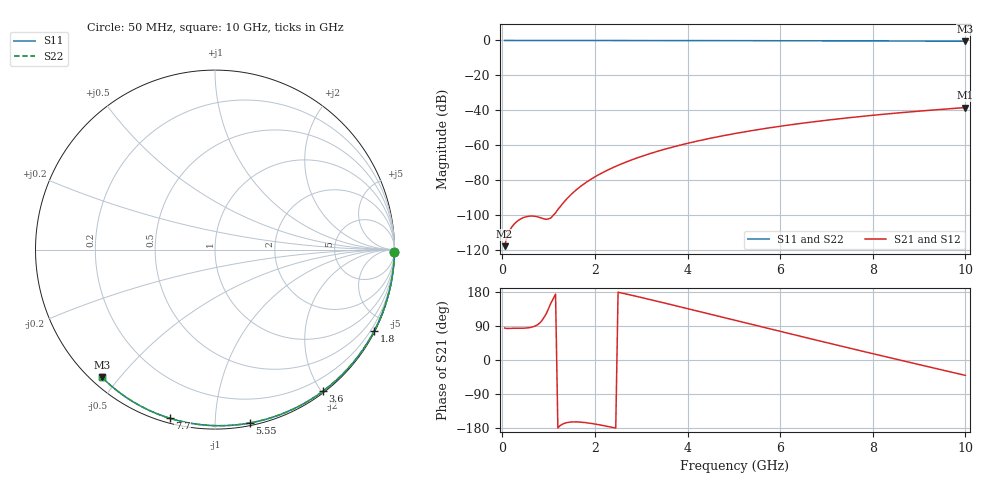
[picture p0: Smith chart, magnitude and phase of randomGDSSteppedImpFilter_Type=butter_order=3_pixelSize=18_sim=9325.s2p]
! freq	dB(S11)	phase(S11)	dB(S12)	phase(S12)
!  dB(S21)	phase(S21)	dB(S22)	phase(S22)
!S-par simulation data
#  GHz  S  DB  R 50
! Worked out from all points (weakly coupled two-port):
!   200 points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, 50 MHz to 10 GHz, reference 50 ohm
!   highest |S21| = -38.40 dB at 10 GHz (marker M1); lowest = -117.7 dB at 50 MHz (marker M2)
!   lowest |S11| = -0.4 dB at 10 GHz (marker M3), VSWR 39.06, Z = 1.54 - j22.5 ohm
!   |S11| at or under -10 dB: nowhere
!   |S22| runs from -0.4 to 0.0 dB; largest |S21 - S12| = 0
!   S11 on the Smith chart (normalised r, x): 50 MHz: open; 1.8 GHz: 0.04, -4.17; 3.6 GHz: 0.02, -2.02; 5.55 GHz: 0.02, -1.22; 7.7 GHz: 0.02, -0.77; 10 GHz: 0.03, -0.45
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0.05  -0.00 -0.8  -117.68 84.3  -117.68 84.3  -0.00 -0.8
0.9  -0.02 -13.6  -102.05 112.1  -102.05 112.1  -0.02 -13.6
1.75  -0.03 -26.2  -82.32 -164.6  -82.32 -164.6  -0.03 -26.2
1.8  -0.03 -26.9  -81.38 -165.3  -81.38 -165.3  -0.03 -26.9
1.85  -0.04 -27.7  -80.49 -166.1  -80.49 -166.1  -0.04 -27.7
1.9  -0.04 -28.4  -79.64 -167.0  -79.64 -167.0  -0.04 -28.4
2.05  -0.04 -30.6  -77.27 -170.0  -77.27 -170.0  -0.04 -30.6
2.25  -0.04 -33.5  -74.47 -174.7  -74.47 -174.7  -0.04 -33.5
2.45  -0.05 -36.4  -72.00 -179.8  -72.00 -179.8  -0.05 -36.4
2.65  -0.05 -39.3  -69.78 174.9  -69.78 174.9  -0.05 -39.3
3  -0.06 -44.3  -66.37 165.0  -66.37 165.0  -0.06 -44.3
3.4  -0.07 -49.9  -63.04 153.4  -63.04 153.4  -0.07 -49.9
3.6  -0.07 -52.7  -61.55 147.5  -61.55 147.5  -0.07 -52.7
4.3  -0.09 -62.2  -57.04 126.6  -57.04 126.6  -0.09 -62.2
5.05  -0.11 -72.2  -53.11 104.0  -53.11 104.0  -0.11 -72.2
5.55  -0.13 -78.7  -50.88 89.0  -50.88 89.0  -0.13 -78.7
6.1  -0.15 -85.6  -48.70 72.6  -48.70 72.6  -0.15 -85.6
6.7  -0.18 -93.1  -46.60 54.8  -46.60 54.8  -0.18 -93.1
7.7  -0.24 -105.1  -43.60 25.4  -43.60 25.4  -0.24 -105.1
8.35  -0.29 -112.7  -41.93 6.6  -41.93 6.6  -0.29 -112.7
9.15  -0.36 -121.8  -40.10 -16.4  -40.10 -16.4  -0.36 -121.8
10  -0.44 -131.5  -38.40 -40.6  -38.40 -40.6  -0.44 -131.5
